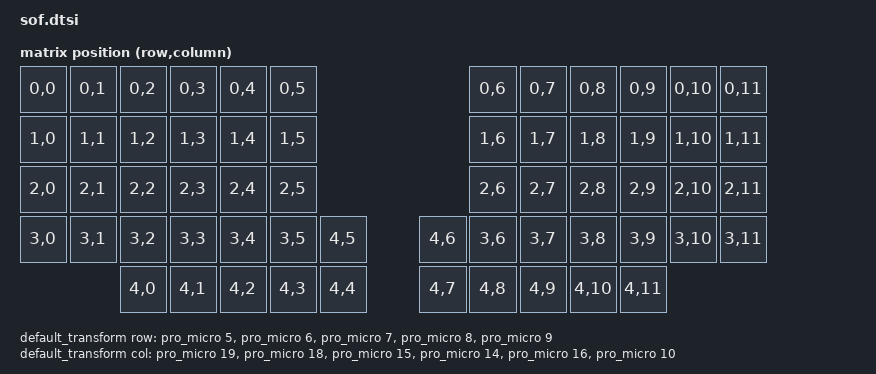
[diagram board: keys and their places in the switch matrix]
/*
 * Copyright (c) 2020 Pete Johanson, Ryan Cross
 *
 * SPDX-License-Identifier: MIT
 */

#include <dt-bindings/zmk/matrix_transform.h>
#include <dt-bindings/input/input-event-codes.h>

chosen {
    zephyr,display = &oled;
    zmk,kscan = &kscan0;
    zmk,matrix-transform = &default_transform;
    zmk,underglow = &led_strip;
};

default_transform: keymap_transform_0 {
    compatible = "zmk,matrix-transform";
    columns = <16>;
    rows = <4>;

    map = <
        RC(0,0) RC(0,1) RC(0,2) RC(0,3) RC(0,4) RC(0,5)               RC(0,6) RC(0,7) RC(0,8) RC(0,9) RC(0,10) RC(0,11)
        RC(1,0) RC(1,1) RC(1,2) RC(1,3) RC(1,4) RC(1,5)               RC(1,6) RC(1,7) RC(1,8) RC(1,9) RC(1,10) RC(1,11)
        RC(2,0) RC(2,1) RC(2,2) RC(2,3) RC(2,4) RC(2,5)               RC(2,6) RC(2,7) RC(2,8) RC(2,9) RC(2,10) RC(2,11)
        RC(3,0) RC(3,1) RC(3,2) RC(3,3) RC(3,4) RC(3,5) RC(4,5) RC(4,6) RC(3,6) RC(3,7) RC(3,8) RC(3,9) RC(3,10) RC(3,11)
                  RC(4,0) RC(4,1) RC(4,2) RC(4,3) RC(4,4) RC(4,7) RC(4,8) RC(4,9) RC(4,10) RC(4,11)
    >;
};

&kscan0 {
    col-gpios = <&pro_micro 19 GPIO_ACTIVE_HIGH>,
                <&pro_micro 18 GPIO_ACTIVE_HIGH>,
                <&pro_micro 15 GPIO_ACTIVE_HIGH>,
                <&pro_micro 14 GPIO_ACTIVE_HIGH>,
                <&pro_micro 16 GPIO_ACTIVE_HIGH>,
                <&pro_micro 10 GPIO_ACTIVE_HIGH>;
};

kscan0: kscan {
    compatible = "zmk,kscan-gpio-matrix";
    diode-direction = "col2row";

    row-gpios = <&pro_micro 5 (GPIO_ACTIVE_HIGH | GPIO_PULL_DOWN)>,
                <&pro_micro 6 (GPIO_ACTIVE_HIGH | GPIO_PULL_DOWN)>,
                <&pro_micro 7 (GPIO_ACTIVE_HIGH | GPIO_PULL_DOWN)>,
                <&pro_micro 8 (GPIO_ACTIVE_HIGH | GPIO_PULL_DOWN)>,
                <&pro_micro 9 (GPIO_ACTIVE_HIGH | GPIO_PULL_DOWN)>;
};
&adc {
    status = "okay";
    #io-channel-cells = <1>;
};

&pro_micro_i2c {
    status = "okay";

    oled: ssd1306@3c {
        compatible = "solomon,ssd1306fb";
        reg = <0x3c>;
        width = <128>;
        height = <32>;
        segment-offset = <0>;
        page-offset = <0>;
        display-offset = <0>;
        multiplex-ratio = <31>;
        segment-remap;
        com-invdir;
        com-sequential;
        inversion-on;
        prechargep = <0x22>;
    };
};



analog_input_0: analog_input_0 {
    compatible = "zmk,analog-input";
    #sensor-binding-cells = <0>;
    sampling-hz = <100>;

    x-ch {
        io-channels = <&adc 5>; // P0.29
        mv-mid = <1600>;
        mv-min-max = <1200>;
        mv-deadzone = <1>;
        scale-multiplier = <1>;
        scale-divisor = <8>;
        evt-type = <INPUT_EV_REL>;
        input-code = <INPUT_REL_X>;
    };

    y-ch {
        io-channels = <&adc 7>; // P0.31
        mv-mid = <1600>;
        mv-min-max = <1200>;
        mv-deadzone = <1>;
        scale-multiplier = <1>;
        scale-divisor = <8>;
        evt-type = <INPUT_EV_REL>;
        input-code = <INPUT_REL_Y>;
    };
};

pointing_device {
    compatible = "zmk,pointing-device";
    sensors = <&analog_input_0>;
};


